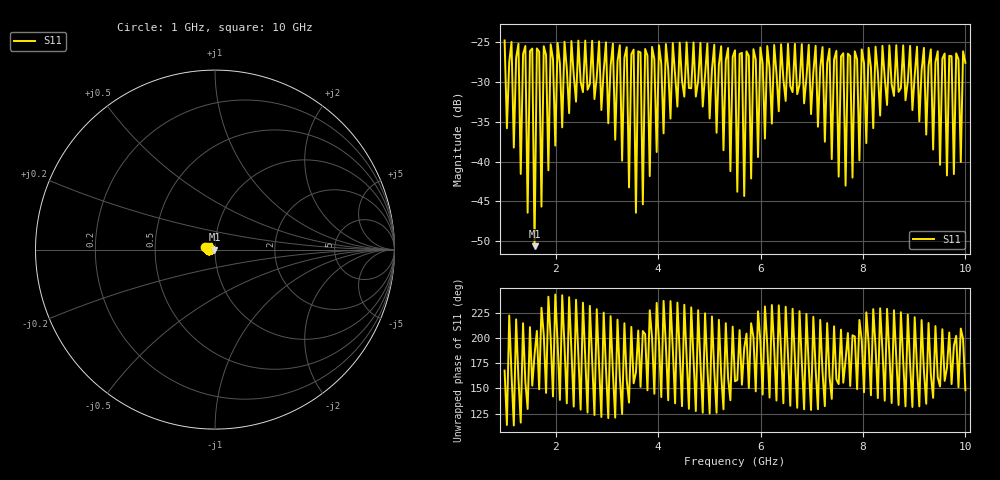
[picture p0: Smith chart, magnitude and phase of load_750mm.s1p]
# HZ S RI R 50
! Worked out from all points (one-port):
!   201 points, 1 GHz to 10 GHz, reference 50 ohm
!   lowest |S11| = -50.6 dB at 1.585 GHz (marker M1), VSWR 1.01, Z = 49.7 - j0.0173 ohm
!   |S11| at or under -10 dB: start of sweep to end of sweep
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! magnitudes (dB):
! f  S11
! 1 GHz  -24.8
! 1.315 GHz  -41.6
! 1.405 GHz  -25.5
! 1.45 GHz  -46.4
! 1.54 GHz  -25.9
! 1.585 GHz  -50.6
! 1.63 GHz  -25.8
! 1.72 GHz  -45.6
! 1.765 GHz  -25.6
! 2.125 GHz  -35.7
! 3.25 GHz  -25.4
! 3.43 GHz  -43.2
! 3.52 GHz  -26.0
! 3.565 GHz  -46.4
! 3.61 GHz  -26.2
! 3.7 GHz  -45.4
! 3.745 GHz  -25.9
! 4.375 GHz  -33.1
! 5.5 GHz  -26.1
! 5.545 GHz  -43.8
! 5.59 GHz  -26.5
! 5.68 GHz  -44.3
! 5.725 GHz  -26.2
! 6.625 GHz  -31.3
! 7.66 GHz  -43.0
! 7.75 GHz  -26.8
! 8.875 GHz  -30.0
! 10 GHz  -27.6
